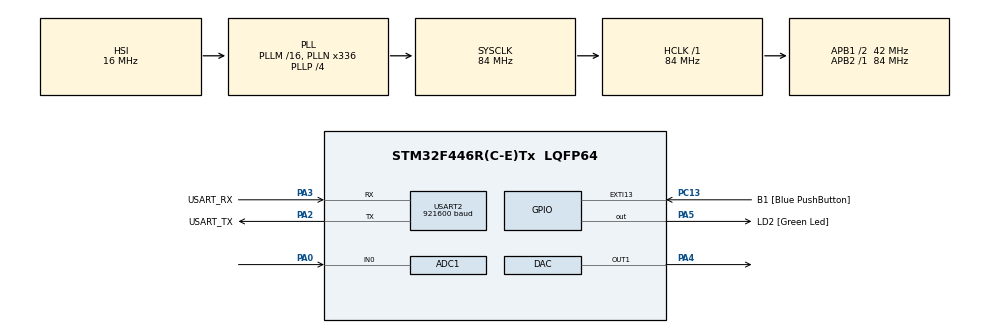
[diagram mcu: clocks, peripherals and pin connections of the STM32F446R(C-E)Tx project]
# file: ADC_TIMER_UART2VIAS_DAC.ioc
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ADC1.Channel-0\#ChannelRegularConversion=ADC_CHANNEL_0
ADC1.NbrOfConversionFlag=1
ADC1.Rank-0\#ChannelRegularConversion=1
ADC1.SamplingTime-0\#ChannelRegularConversion=ADC_SAMPLETIME_3CYCLES
ADC1.master=1
Dma.Request0=USART2_RX
Dma.USART2_RX.0.Direction=DMA_PERIPH_TO_MEMORY
Dma.USART2_RX.0.FIFOMode=DMA_FIFOMODE_DISABLE
Dma.USART2_RX.0.Instance=DMA1_Stream5
Dma.USART2_RX.0.MemDataAlignment=DMA_MDATAALIGN_BYTE
Dma.USART2_RX.0.MemInc=DMA_MINC_ENABLE
Dma.USART2_RX.0.Mode=DMA_NORMAL
Dma.USART2_RX.0.PeriphDataAlignment=DMA_PDATAALIGN_BYTE
Dma.USART2_RX.0.PeriphInc=DMA_PINC_DISABLE
Dma.USART2_RX.0.Priority=DMA_PRIORITY_LOW
Mcu.Family=STM32F4
Mcu.Name=STM32F446R(C-E)Tx
Mcu.Package=LQFP64
NVIC.DMA1_Stream5_IRQn=true\:0\:0\:false\:false\:true\:false\:true\:true
NVIC.PriorityGroup=NVIC_PRIORITYGROUP_1
NVIC.TIM1_UP_TIM10_IRQn=true\:1\:0\:true\:false\:true\:true\:true\:true
NVIC.USART2_IRQn=true\:0\:0\:true\:false\:true\:true\:true\:true
PA0-WKUP.Signal=ADCx_IN0
PA13.GPIO_Label=TMS
PA13.Mode=Serial_Wire
PA13.Signal=SYS_JTMS-SWDIO
PA14.GPIO_Label=TCK
PA14.Mode=Serial_Wire
PA14.Signal=SYS_JTCK-SWCLK
PA2.GPIO_Label=USART_TX
PA2.Mode=Asynchronous
PA2.Signal=USART2_TX
PA3.GPIO_Label=USART_RX
PA3.Mode=Asynchronous
PA3.Signal=USART2_RX
PA4.Signal=COMP_DAC1_group
PA5.GPIO_Label=LD2 [Green Led]
PA5.Signal=GPIO_Output
PB3.GPIO_Label=SWO
PB3.Signal=SYS_JTDO-SWO
PC13.GPIO_Label=B1 [Blue PushButton]
PC13.GPIO_ModeDefaultEXTI=GPIO_MODE_IT_FALLING
PC13.Signal=GPXTI13
PC14-OSC32_IN.Mode=LSE-External-Oscillator
PC14-OSC32_IN.Signal=RCC_OSC32_IN
PC15-OSC32_OUT.Mode=LSE-External-Oscillator
PC15-OSC32_OUT.Signal=RCC_OSC32_OUT
PH0-OSC_IN.Mode=HSE-External-Oscillator
PH0-OSC_IN.Signal=RCC_OSC_IN
PH1-OSC_OUT.Mode=HSE-External-Oscillator
PH1-OSC_OUT.Signal=RCC_OSC_OUT
ProjectManager.HeapSize=0x200
ProjectManager.StackSize=0x400
ProjectManager.TargetToolchain=STM32CubeIDE
RCC.48MHZClocksFreq_Value=84000000
RCC.AHBFreq_Value=84000000
RCC.APB1CLKDivider=RCC_HCLK_DIV2
RCC.APB1Freq_Value=42000000
RCC.APB1TimFreq_Value=84000000
RCC.APB2Freq_Value=84000000
RCC.APB2TimFreq_Value=84000000
RCC.CortexFreq_Value=84000000
RCC.FLatency-AdvancedSettings=FLASH_LATENCY_2
RCC.HCLKFreq_Value=84000000
RCC.HSE_VALUE=8000000
RCC.HSI_VALUE=16000000
RCC.PLLN=336
RCC.PLLP=RCC_PLLP_DIV4
RCC.SYSCLKFreq_VALUE=84000000
RCC.SYSCLKSource=RCC_SYSCLKSOURCE_PLLCLK
RCC.USBFreq_Value=168000000
RCC.VCOOutputFreq_Value=336000000
SH.ADCx_IN0.0=ADC1_IN0,IN0
SH.COMP_DAC1_group.0=DAC_OUT1,DAC_OUT1
TIM10.Prescaler=8399
USART2.BaudRate=921600
USART2.VirtualMode=VM_ASYNC
VP_TIM10_VS_ClockSourceINT.Mode=Enable_Timer
board=NUCLEO-F446RE

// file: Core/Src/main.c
/* USER CODE BEGIN Header */
/*
 * ADC_TIMER_UART2VIAS_DAC
 * Proyecto que muestra el uso del ADC y DAC en el STM32F446RE. La lectura se hace
 * dentro de la rutina de interrupción de un temporizador para que sea a una frecuencia constante.
 * Las conversiones se envían por UART, para poder ser leídas en una computadora.
 * La lectura se escala para enviarla al DAC.
 * Además de esto, se utiliza una rutina de interrupción del UART para la recepción de datos
 * provenientes de una PC.
 *
 * PARA ASEGURAR UNA TRANSMISIÓN CORRECTA DE DATOS, EL UART SE CONFIGURÓ A 921600 baudios.
 * Asegúrese de configurar las terminales o puertos seriales a esta velocidad.
 *
 * Basado en los ejemplos ADC_IT y TIM_IT del curso MOOC - STM32CubeMX and STM32Cube HAL basics
 * Modificado por Pedro Joaquín Castillo
 *
 * Para hacer uso de este programa se debe conectar una señal al pin PA0 del Nucleo-F446RE.
 * La salida del DAC puede observarse en el pin PA4.
 * Para la recepción de coeficientes, puede utilizar el programa PS_proy_enviar_recibir.m
 * Consulten el diagrama esquemático de la placa NUCLEO para mayor detalle de la conexión
 * de los pines.
 */
/**
  ******************************************************************************
  * @file           : main.c
  * @brief          : Main program body
  ******************************************************************************
  * @attention
  *
  * Copyright (c) 2025 STMicroelectronics.
  * All rights reserved.
  *
  * This software is licensed under terms that can be found in the LICENSE file
  * in the root directory of this software component.
  * If no LICENSE file comes with this software, it is provided AS-IS.
  *
  ******************************************************************************
  */
/* USER CODE END Header */
#include "main.h"

/* USER CODE BEGIN Includes */
//Importante incluir estas librerías para evitar mensajes de alerta al momento del "build"
//Contienen funciones para enviar mensajes por puerto COM
#include <stdio.h>
#include <string.h>
#include <stdlib.h>

/* USER CODE END Includes */

ADC_HandleTypeDef hadc1;

DAC_HandleTypeDef hdac;

TIM_HandleTypeDef htim10;

UART_HandleTypeDef huart2;
DMA_HandleTypeDef hdma_usart2_rx;

/* USER CODE BEGIN PV */

#define COEF_SIZE 8		//Tamaño del coeficiente a recibir

uint16_t adc_value;  //Variable para almacenar las conversiones del ADC
char msg[30]; //Buffer para el mensaje a enviar por UART (debe ser del tamaño adecuado para que quepan todos
//caracteres a enviar)
uint8_t rec[COEF_SIZE + 1]; //Buffer para la recepción de datos

//FRECUENCIA DE TIMER
//OJO: LA CONFIGURACIÓN ACTUAL PERMITE UNA freq_timer MÁXIMA DE 10kHz.
//Sin embargo, no se recomienda sobrepasar los 3kHz.
//SI SE DESEA UNA FRECUENCIA MÁS ALTA SE DEBE CAMBIAR LA CONFIGURACIÓN DEL TIM10
uint16_t freq_timer = 1000; //En Hz
uint32_t timer_clk; //Variable para configurar el TIM10
uint32_t pclk; //Variable para configurar el TIM10

float num_recibido = 1.0; //Número recibido por UART
float x_n = 0.0, y_n = 0.0; // En este ejemplo no es necesario inicializar a 0
							// estas variables. Se hace para ilustrar cómo inicializar.

/* USER CODE END PV */

void SystemClock_Config(void);
static void MX_GPIO_Init(void);
static void MX_DMA_Init(void);
static void MX_USART2_UART_Init(void);
static void MX_ADC1_Init(void);
static void MX_DAC_Init(void);
static void MX_TIM10_Init(void);

/* USER CODE BEGIN 0 */

//Callback para la interrupción de TIM10
void HAL_TIM_PeriodElapsedCallback(TIM_HandleTypeDef *htim){
	HAL_ADC_Start(&hadc1);  //Inicializa la conversión ADC1
	HAL_ADC_PollForConversion(&hadc1, HAL_MAX_DELAY); //Se espera a que se complete la conversión
	adc_value = HAL_ADC_GetValue(&hadc1); //Se asigna el valor en la variable correspondiente
	sprintf(msg, "%d\n", adc_value); //Se prepara el mensaje...
	HAL_UART_Transmit_IT(&huart2,(uint8_t*)msg, strlen(msg)); //...y se envía por UART
	//En la línea de arriba se usa la opción con IT para evitar "ocupar" al procesador enviando el mensaje

	x_n = 1.0*adc_value; //Con el 1.0, de una vez se convierte a float
	y_n = num_recibido*x_n;  //Esto ilustra cómo se podría usar lo recibido por UART.

	// Lo siguiente es para asegurarse de que el valor que se envíe al DAC esté en
	// el intervalo adecuado (el DAC es de 12 bits)
	if(y_n > 4095.0){
		y_n = 4095.0;
	}
	else if(y_n < 0.0){
		y_n = 0.0;
	}

	//Se envía un valor de 12 bits alineado a la derecha al DAC (note el casting a entero que se le aplica  y_n
	HAL_DAC_SetValue(&hdac, DAC_CHANNEL_1, DAC_ALIGN_12B_R, (uint16_t)y_n);
}

//Callback para la interrupción de UART2 al momento de recibir toda la data
void HAL_UART_RxCpltCallback(UART_HandleTypeDef *huart){
	rec[COEF_SIZE-1] = '\0'; //Se agrega un nulo para convertir a string
	num_recibido = atof((char*)rec);  //Se convierte a float

	//El UART se configura nuevamente para poder recibir la siguiente recepción
	HAL_UART_Receive_DMA(&huart2,rec,COEF_SIZE);

	// Para el proyecto: podrían usar un arreglo de floats para ir guardando los
	// coeficientes de la ecuación de diferencias. Necesitarían un contador de
	// coeficientes (variable global), para tener control de cuántos se han recibido.
	// El número de coeficientes depende del orden del filtro diseñado. Como se
	// explicó, pueden asumir un orden máximo para los filtros que se ejecutan
	// en el Nucleo-F446RE (ej.: orden 4). Y pueden ajustar sus programas de Matlab y del
	// Nucleo-F446RE para siempre enviar y recibir el mismo número de coeficientes. Si se
	// diseña un filtro de orden menor al máximo, los coeficientes "faltantes" los
	// igualarían a cero.
}
/* USER CODE END 0 */

int main(void)
{

  /* MCU Configuration--------------------------------------------------------*/

  /* Reset of all peripherals, Initializes the Flash interface and the Systick. */
  HAL_Init();

  /* Configure the system clock */
  SystemClock_Config();

  /* Initialize all configured peripherals */
  MX_GPIO_Init();
  MX_DMA_Init();
  MX_USART2_UART_Init();
  MX_ADC1_Init();
  MX_DAC_Init();
  MX_TIM10_Init();
  /* USER CODE BEGIN 2 */

  HAL_DAC_Start(&hdac, DAC_CHANNEL_1); //Inicializa el Canal 1 del DAC
  HAL_UART_Receive_DMA(&huart2, rec, COEF_SIZE); //Se configura la recepción del UART con DMA
  HAL_TIM_Base_Start_IT(&htim10); //Esto inicializa el TIM10 y habilita la interrupción
  /* USER CODE END 2 */

  /* Infinite loop */
  while (1)
  {

    /* USER CODE BEGIN 3 */
	  //El controlador se queda esperando las interrupciones de TIM10 y del UART
  }
  /* USER CODE END 3 */
}

void SystemClock_Config(void)
{
  RCC_OscInitTypeDef RCC_OscInitStruct = {0};
  RCC_ClkInitTypeDef RCC_ClkInitStruct = {0};

  /** Configure the main internal regulator output voltage
  */
  __HAL_RCC_PWR_CLK_ENABLE();
  __HAL_PWR_VOLTAGESCALING_CONFIG(PWR_REGULATOR_VOLTAGE_SCALE3);

  /** Initializes the RCC Oscillators according to the specified parameters
  * in the RCC_OscInitTypeDef structure.
  */
  RCC_OscInitStruct.OscillatorType = RCC_OSCILLATORTYPE_HSI;
  RCC_OscInitStruct.HSIState = RCC_HSI_ON;
  RCC_OscInitStruct.HSICalibrationValue = RCC_HSICALIBRATION_DEFAULT;
  RCC_OscInitStruct.PLL.PLLState = RCC_PLL_ON;
  RCC_OscInitStruct.PLL.PLLSource = RCC_PLLSOURCE_HSI;
  RCC_OscInitStruct.PLL.PLLM = 16;
  RCC_OscInitStruct.PLL.PLLN = 336;
  RCC_OscInitStruct.PLL.PLLP = RCC_PLLP_DIV4;
  RCC_OscInitStruct.PLL.PLLQ = 2;
  RCC_OscInitStruct.PLL.PLLR = 2;
  if (HAL_RCC_OscConfig(&RCC_OscInitStruct) != HAL_OK)
  {
    Error_Handler();
  }

  /** Initializes the CPU, AHB and APB buses clocks
  */
  RCC_ClkInitStruct.ClockType = RCC_CLOCKTYPE_HCLK|RCC_CLOCKTYPE_SYSCLK
                              |RCC_CLOCKTYPE_PCLK1|RCC_CLOCKTYPE_PCLK2;
  RCC_ClkInitStruct.SYSCLKSource = RCC_SYSCLKSOURCE_PLLCLK;
  RCC_ClkInitStruct.AHBCLKDivider = RCC_SYSCLK_DIV1;
  RCC_ClkInitStruct.APB1CLKDivider = RCC_HCLK_DIV2;
  RCC_ClkInitStruct.APB2CLKDivider = RCC_HCLK_DIV1;

  if (HAL_RCC_ClockConfig(&RCC_ClkInitStruct, FLASH_LATENCY_2) != HAL_OK)
  {
    Error_Handler();
  }
}

static void MX_ADC1_Init(void)
{

  ADC_ChannelConfTypeDef sConfig = {0};

  /** Configure the global features of the ADC (Clock, Resolution, Data Alignment and number of conversion)
  */
  hadc1.Instance = ADC1;
  hadc1.Init.ClockPrescaler = ADC_CLOCK_SYNC_PCLK_DIV4;
  hadc1.Init.Resolution = ADC_RESOLUTION_12B;
  hadc1.Init.ScanConvMode = DISABLE;
  hadc1.Init.ContinuousConvMode = DISABLE;
  hadc1.Init.DiscontinuousConvMode = DISABLE;
  hadc1.Init.ExternalTrigConvEdge = ADC_EXTERNALTRIGCONVEDGE_NONE;
  hadc1.Init.ExternalTrigConv = ADC_SOFTWARE_START;
  hadc1.Init.DataAlign = ADC_DATAALIGN_RIGHT;
  hadc1.Init.NbrOfConversion = 1;
  hadc1.Init.DMAContinuousRequests = DISABLE;
  hadc1.Init.EOCSelection = ADC_EOC_SINGLE_CONV;
  if (HAL_ADC_Init(&hadc1) != HAL_OK)
  {
    Error_Handler();
  }

  /** Configure for the selected ADC regular channel its corresponding rank in the sequencer and its sample time.
  */
  sConfig.Channel = ADC_CHANNEL_0;
  sConfig.Rank = 1;
  sConfig.SamplingTime = ADC_SAMPLETIME_3CYCLES;
  if (HAL_ADC_ConfigChannel(&hadc1, &sConfig) != HAL_OK)
  {
    Error_Handler();
  }

}

static void MX_DAC_Init(void)
{

  DAC_ChannelConfTypeDef sConfig = {0};

  /** DAC Initialization
  */
  hdac.Instance = DAC;
  if (HAL_DAC_Init(&hdac) != HAL_OK)
  {
    Error_Handler();
  }

  /** DAC channel OUT1 config
  */
  sConfig.DAC_Trigger = DAC_TRIGGER_NONE;
  sConfig.DAC_OutputBuffer = DAC_OUTPUTBUFFER_ENABLE;
  if (HAL_DAC_ConfigChannel(&hdac, &sConfig, DAC_CHANNEL_1) != HAL_OK)
  {
    Error_Handler();
  }

}

static void MX_TIM10_Init(void)
{

  /* USER CODE BEGIN TIM10_Init 0 */
	//Se obtiene la frecuencia del CLK que controla el TIM10
	pclk = HAL_RCC_GetPCLK2Freq();
	if ((RCC->CFGR & RCC_CFGR_PPRE2) != RCC_CFGR_PPRE2_DIV1) {
		timer_clk = pclk * 2;  // Si el divisor del CLK es diferente a 1, se duplica la frecuencia del reloj
	} else {
		timer_clk = pclk; //Si el divisor es 1, se mantiene igual
	}

	htim10.Init.Prescaler = 8399;
	//OJO: Gracias a la siguiente línea de código es modificar la frecuencia del timer al sólo cambiar freq_timer.
	//Note que la línea que configura el período está comentada en la sección de configuración del TIM10 (más abajo).
	//Si se genera nuevo código, debe comentar la línea en donde se asigna el valor del htim10.Init.Period en la
	//configuración del TIM10.
	htim10.Init.Period = ((timer_clk / (htim10.Init.Prescaler + 1)) / freq_timer) - 1;

  /* USER CODE END TIM10_Init 0 */

  htim10.Instance = TIM10;
  htim10.Init.Prescaler = 8399;
  htim10.Init.CounterMode = TIM_COUNTERMODE_UP;
  //htim10.Init.Period = 65535;
  htim10.Init.ClockDivision = TIM_CLOCKDIVISION_DIV1;
  htim10.Init.AutoReloadPreload = TIM_AUTORELOAD_PRELOAD_DISABLE;
  if (HAL_TIM_Base_Init(&htim10) != HAL_OK)
  {
    Error_Handler();
  }

}

static void MX_USART2_UART_Init(void)
{

  /* USER CODE BEGIN USART2_Init 0 */

	//NOTE QUE EL BAUDAJE DEL UART2 SE CONFIGURÓ A 921600
  /* USER CODE END USART2_Init 0 */

  huart2.Instance = USART2;
  huart2.Init.BaudRate = 921600;
  huart2.Init.WordLength = UART_WORDLENGTH_8B;
  huart2.Init.StopBits = UART_STOPBITS_1;
  huart2.Init.Parity = UART_PARITY_NONE;
  huart2.Init.Mode = UART_MODE_TX_RX;
  huart2.Init.HwFlowCtl = UART_HWCONTROL_NONE;
  huart2.Init.OverSampling = UART_OVERSAMPLING_16;
  if (HAL_UART_Init(&huart2) != HAL_OK)
  {
    Error_Handler();
  }

}

static void MX_DMA_Init(void)
{

  /* DMA controller clock enable */
  __HAL_RCC_DMA1_CLK_ENABLE();

  /* DMA interrupt init */
  /* DMA1_Stream5_IRQn interrupt configuration */
  HAL_NVIC_SetPriority(DMA1_Stream5_IRQn, 0, 0);
  HAL_NVIC_EnableIRQ(DMA1_Stream5_IRQn);

}

static void MX_GPIO_Init(void)
{
  GPIO_InitTypeDef GPIO_InitStruct = {0};

  /* GPIO Ports Clock Enable */
  __HAL_RCC_GPIOC_CLK_ENABLE();
  __HAL_RCC_GPIOH_CLK_ENABLE();
  __HAL_RCC_GPIOA_CLK_ENABLE();
  __HAL_RCC_GPIOB_CLK_ENABLE();

  /*Configure GPIO pin Output Level */
  HAL_GPIO_WritePin(LD2_GPIO_Port, LD2_Pin, GPIO_PIN_RESET);

  /*Configure GPIO pin : B1_Pin */
  GPIO_InitStruct.Pin = B1_Pin;
  GPIO_InitStruct.Mode = GPIO_MODE_IT_FALLING;
  GPIO_InitStruct.Pull = GPIO_NOPULL;
  HAL_GPIO_Init(B1_GPIO_Port, &GPIO_InitStruct);

  /*Configure GPIO pin : LD2_Pin */
  GPIO_InitStruct.Pin = LD2_Pin;
  GPIO_InitStruct.Mode = GPIO_MODE_OUTPUT_PP;
  GPIO_InitStruct.Pull = GPIO_NOPULL;
  GPIO_InitStruct.Speed = GPIO_SPEED_FREQ_LOW;
  HAL_GPIO_Init(LD2_GPIO_Port, &GPIO_InitStruct);

}

void Error_Handler(void)
{
  __disable_irq();
  while (1)
  {
  }
}
